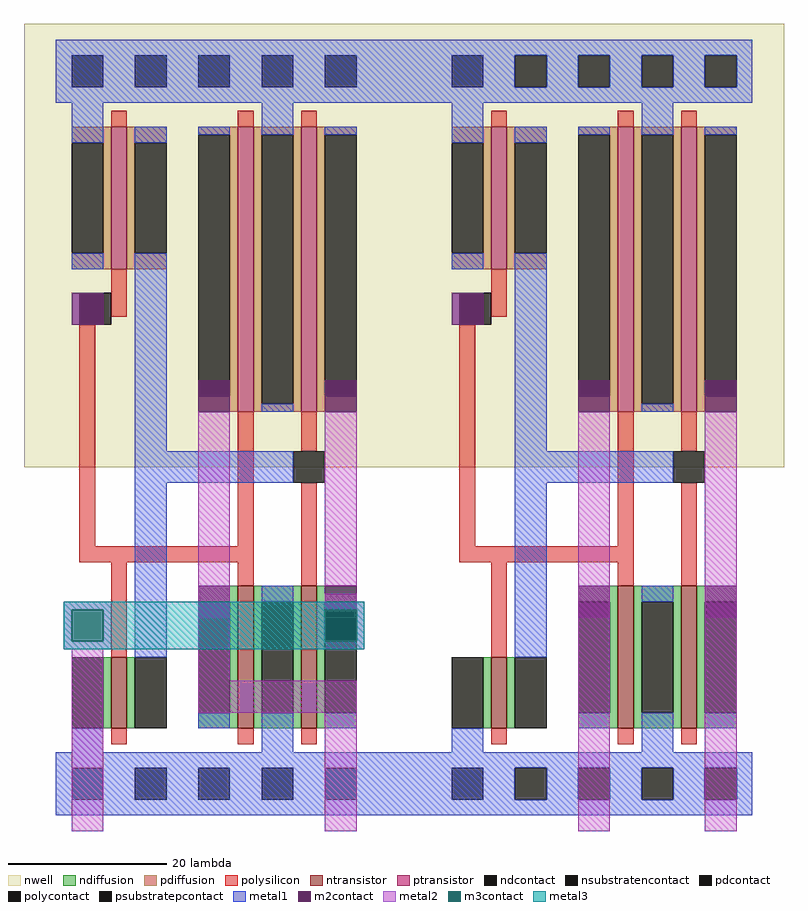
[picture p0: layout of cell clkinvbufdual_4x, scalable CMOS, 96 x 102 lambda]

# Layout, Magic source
magic
tech scmos
<< metal1 >>
rect -2 86 54 94
rect -2 -4 54 4
<< metal2 >>
rect -1 22 5 23
rect -1 18 0 22
rect 4 18 5 22
rect -1 17 5 18
rect 0 -6 4 17
rect 16 13 20 25
rect 32 23 36 24
rect 31 22 37 23
rect 31 18 32 22
rect 36 18 37 22
rect 31 17 37 18
rect 16 9 36 13
rect 32 -6 36 9
rect 64 -6 68 25
rect 80 -6 84 25
<< m3contact >>
rect 0 18 4 22
rect 32 18 36 22
<< metal3 >>
rect -1 22 37 23
rect -1 18 0 22
rect 4 18 32 22
rect 36 18 37 22
rect -1 17 37 18
use clkinvbuf_4x  clkinvbuf_4x_0
transform 1 0 0 0 1 0
box -6 -4 42 96
use clkinvbuf_4x  clkinvbuf_4x_1
transform 1 0 48 0 1 0
box -6 -4 42 96
<< end >>

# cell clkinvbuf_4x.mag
magic
tech scmos
<< nwell >>
rect -6 40 42 96
<< ntransistor >>
rect 5 7 7 16
rect 21 7 23 25
rect 29 7 31 25
<< ptransistor >>
rect 5 65 7 83
rect 21 47 23 83
rect 29 47 31 83
<< ndiffusion >>
rect 16 23 21 25
rect 4 7 5 16
rect 7 7 8 16
rect 20 9 21 23
rect 16 7 21 9
rect 23 23 29 25
rect 23 9 24 23
rect 28 9 29 23
rect 23 7 29 9
rect 31 23 36 25
rect 31 9 32 23
rect 31 7 36 9
<< pdiffusion >>
rect 0 81 5 83
rect 4 67 5 81
rect 0 65 5 67
rect 7 81 12 83
rect 7 67 8 81
rect 7 65 12 67
rect 16 82 21 83
rect 20 49 21 82
rect 16 47 21 49
rect 23 82 29 83
rect 23 48 24 82
rect 28 48 29 82
rect 23 47 29 48
rect 31 82 36 83
rect 31 49 32 82
rect 31 47 36 49
<< ndcontact >>
rect 0 7 4 16
rect 8 7 12 16
rect 16 9 20 23
rect 24 9 28 23
rect 32 9 36 23
<< pdcontact >>
rect 0 67 4 81
rect 8 67 12 81
rect 16 49 20 82
rect 24 48 28 82
rect 32 49 36 82
<< psubstratepcontact >>
rect 0 -2 4 2
rect 8 -2 12 2
rect 16 -2 20 2
rect 24 -2 28 2
rect 32 -2 36 2
<< nsubstratencontact >>
rect 0 88 4 92
rect 8 88 12 92
rect 16 88 20 92
rect 24 88 28 92
rect 32 88 36 92
<< polysilicon >>
rect 5 83 7 85
rect 21 83 23 85
rect 29 83 31 85
rect 5 59 7 65
rect 1 30 3 58
rect 21 30 23 47
rect 29 42 31 47
rect 1 28 23 30
rect 5 16 7 28
rect 21 25 23 28
rect 29 25 31 38
rect 5 5 7 7
rect 21 5 23 7
rect 29 5 31 7
<< polycontact >>
rect 1 58 5 62
rect 28 38 32 42
<< metal1 >>
rect -2 92 38 94
rect -2 88 0 92
rect 4 88 8 92
rect 12 88 16 92
rect 20 88 24 92
rect 28 88 32 92
rect 36 88 38 92
rect -2 86 38 88
rect 0 81 4 86
rect 0 65 4 67
rect 8 81 12 83
rect 8 42 12 67
rect 16 82 20 83
rect 24 82 28 86
rect 24 47 28 48
rect 32 82 36 83
rect 8 38 28 42
rect 8 16 12 38
rect 16 7 20 9
rect 24 23 28 25
rect 0 4 4 7
rect 24 4 28 9
rect 32 7 36 9
rect -2 2 38 4
rect -2 -2 0 2
rect 4 -2 8 2
rect 12 -2 16 2
rect 20 -2 24 2
rect 28 -2 32 2
rect 36 -2 38 2
rect -2 -4 38 -2
<< m2contact >>
rect 0 58 1 62
rect 1 58 4 62
rect 16 49 20 51
rect 16 47 20 49
rect 32 49 36 51
rect 32 47 36 49
rect 16 23 20 25
rect 16 21 20 23
rect 32 23 36 25
rect 32 21 36 23
<< metal2 >>
rect 16 25 20 47
rect 32 25 36 47
<< labels >>
rlabel m2contact 2 60 2 60 1 ph
rlabel m2contact 18 23 18 23 1 phb
rlabel m2contact 34 23 34 23 1 phbuf
rlabel metal1 -1 -1 -1 0 2 Gnd!
rlabel metal1 -1 90 -1 90 3 Vdd!
<< end >>
